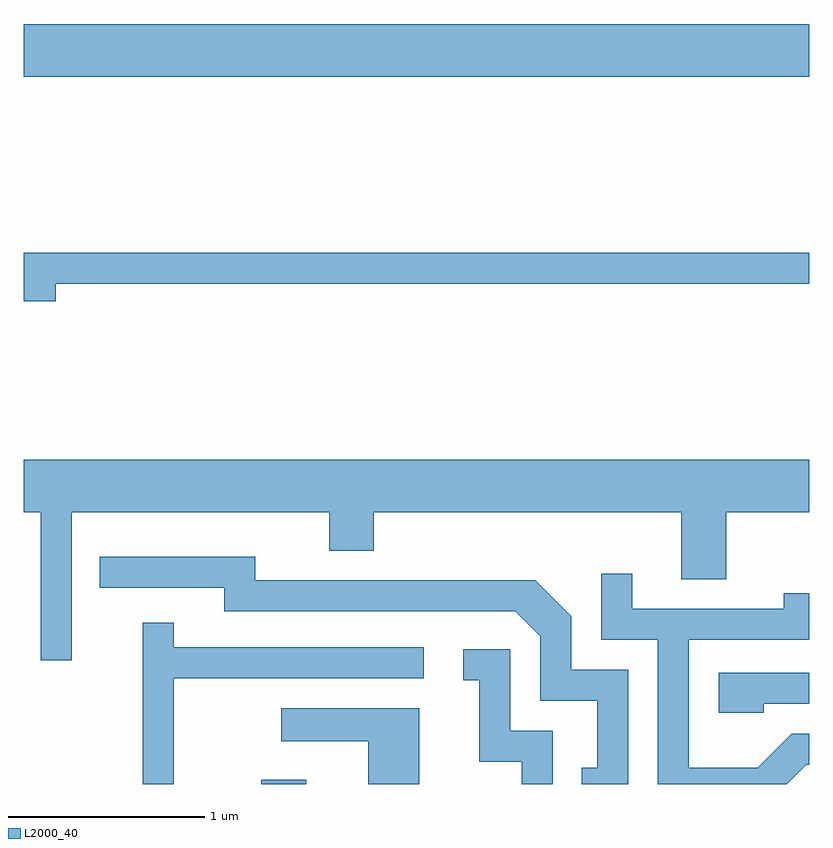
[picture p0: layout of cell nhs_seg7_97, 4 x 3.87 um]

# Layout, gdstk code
import gdstk
lib = gdstk.Library(unit=1e-6, precision=1e-09)
def R(c, l, rs):  # rectangles x0, y0, x1, y1
    for r in rs: c.add(gdstk.rectangle(r[:2], r[2:], *l))
def P(c, l, *ps):  # polygons
    for p in ps: c.add(gdstk.Polygon(p, *l))
L2000_40 = (2000, 40)

nhs_seg7_97 = lib.new_cell('nhs_seg7_97')
R(nhs_seg7_97, L2000_40, [(188.821,1726.252,189.049,1726.274), (187.611,1729.856,191.611,1730.124)])
P(nhs_seg7_97, L2000_40, [(187.774,1728.801),(191.611,1728.801),(191.611,1728.959),(187.611,1728.959),(187.611,1728.711),(187.774,1728.711)],
  [(187.854,1727.636),(189.166,1727.636),(189.166,1727.441),(189.394,1727.441),(189.394,1727.636),(190.961,1727.636),(190.961,1727.296),(191.189,1727.296),(191.189,1727.636),(191.611,1727.636),(191.611,1727.904),(187.611,1727.904),(187.611,1727.636),(187.696,1727.636),(187.696,1726.883),(187.854,1726.883)],
  [(190.689,1726.834),(190.399,1726.834),(190.399,1727.107),(190.217,1727.289),(188.789,1727.289),(188.789,1727.409),(187.998,1727.409),(187.998,1727.251),(188.631,1727.251),(188.631,1727.131),(190.114,1727.131),(190.241,1727.004),(190.241,1726.676),(190.531,1726.676),(190.531,1726.334),(190.453,1726.334),(190.453,1726.252),(190.689,1726.252)],
  [(191.597,1726.351),(191.611,1726.351),(191.611,1726.509),(191.524,1726.509),(191.349,1726.334),(190.999,1726.334),(190.999,1726.986),(191.611,1726.986),(191.611,1727.223),(191.481,1727.223),(191.481,1727.144),(190.709,1727.144),(190.709,1727.323),(190.551,1727.323),(190.551,1726.986),(190.841,1726.986),(190.841,1726.252),(191.498,1726.252)],
  [(188.374,1726.791),(189.648,1726.791),(189.648,1726.949),(188.374,1726.949),(188.374,1727.073),(188.216,1727.073),(188.216,1726.252),(188.374,1726.252)],
  [(190.304,1726.524),(190.089,1726.524),(190.089,1726.939),(189.848,1726.939),(189.848,1726.781),(189.931,1726.781),(189.931,1726.366),(190.146,1726.366),(190.146,1726.252),(190.304,1726.252)],
  [(191.379,1726.661),(191.611,1726.661),(191.611,1726.819),(191.151,1726.819),(191.151,1726.616),(191.379,1726.616)],
  [(189.624,1726.639),(188.923,1726.639),(188.923,1726.471),(189.366,1726.471),(189.366,1726.252),(189.624,1726.252)])

lib.write_gds('nhs_seg7_97.gds')
